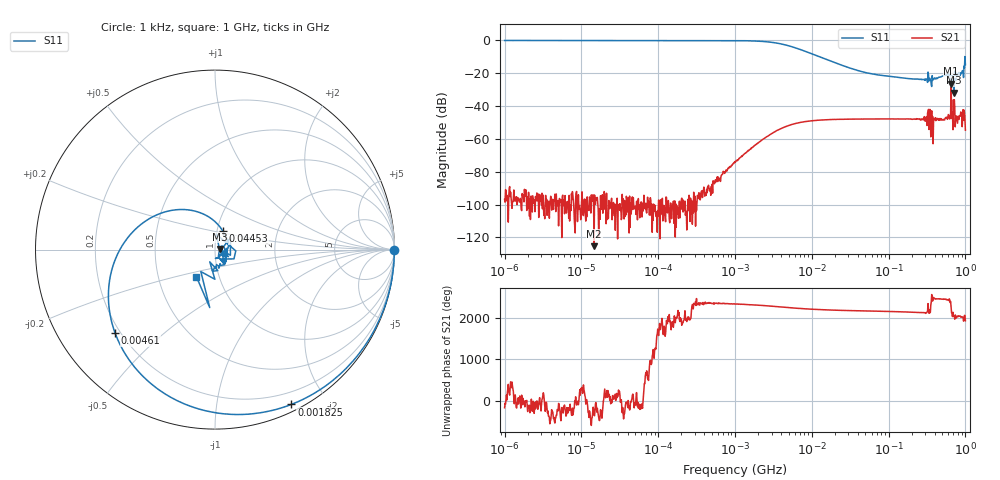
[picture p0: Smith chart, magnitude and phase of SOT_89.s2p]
! ListType=Log
# MHZ S RI R 50
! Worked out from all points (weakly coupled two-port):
!   1000 points, 1 kHz to 1 GHz, reference 50 ohm
!   highest |S21| = -26.25 dB at 651.3 MHz (marker M1); lowest = -125.4 dB at 14.63 kHz (marker M2)
!   lowest |S11| = -31.9 dB at 707.7 MHz (marker M3), VSWR 1.05, Z = 52.6 + j0.314 ohm
!   |S11| at or under -10 dB: 12.69 MHz to 985.8 MHz (973.2 MHz wide, 195 % of centre); 986.9 MHz to end of sweep
!   S12 and S22 are empty: the file has one direction only
!   S11 on the Smith chart (normalised r, x): 1 kHz: open; 1.825 MHz: 0.07, -1.61; 4.61 MHz: 0.18, -0.35; 44.53 MHz: 1.07, +0.22; 1 GHz: 0.78, -0.24
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0.001  0.9993 0.000432  -1.35e-05 -4.8e-06  0 0  0 0
0.0100694  0.9991 -0.00633  9.8e-06 -6.3e-06  0 0  0 0
0.0146273  0.9991 -0.00923  5e-07 2e-07  0 0  0 0
0.1013925  0.997 -0.063  -9e-06 1.04e-05  0 0  0 0
0.7028244  0.9023 -0.4197  -0.000103 3.9e-06  0 0  0 0
1.006939  0.8044 -0.5773  -0.000187 4.98e-05  0 0  0 0
1.824993  0.4252 -0.8628  -0.000517 0.000374  0 0  0 0
2.920555  -0.1255 -0.8768  -0.000634 0.00124  0 0  0 0
4.609604  -0.557 -0.464  0.000122 0.00237  0 0  0 0
6.979814  -0.5364 -0.0123  0.00152 0.00276  0 0  0 0
10.13925  -0.3398 0.1864  0.00263 0.00244  0 0  0 0
44.52959  0.0437 0.104  0.00402 0.000277  0 0  0 0
100.6939  0.0743 0.0329  0.00399 -0.000757  0 0  0 0
326.2222  0.0863 0.0662  -0.00659 0.000236  0 0  0 0
359.3814  0.0244 -0.0373  -0.00322 -0.00274  0 0  0 0
559.4326  0.0568 -0.0652  0.000205 -0.00454  0 0  0 0
651.3491  0.0331 -0.0267  0.0103 0.0476  0 0  0 0
678.9407  0.0224 -0.0441  -0.00462 -0.00487  0 0  0 0
707.7011  0.0253 0.00299  -0.00229 -0.00497  0 0  0 0
790.4928  0.0276 -0.0794  -0.00159 -0.00255  0 0  0 0
920.3732  -0.0125 -0.1205  -0.00306 -0.00249  0 0  0 0
1000  -0.1035 -0.1513  -0.00107 0.0015  0 0  0 0
